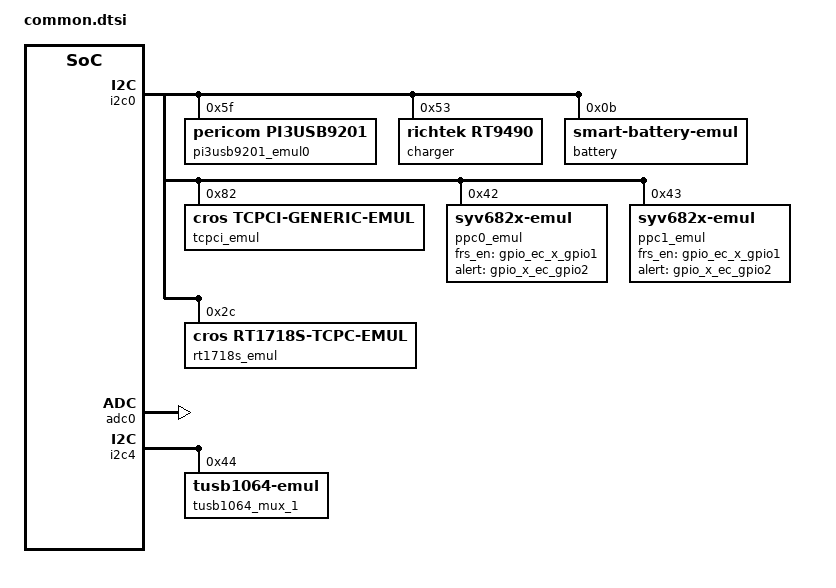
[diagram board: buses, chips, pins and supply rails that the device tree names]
/* Copyright 2022 The ChromiumOS Authors
 * Use of this source code is governed by a BSD-style license that can be
 * found in the LICENSE file.
 */

#include <it8xxx2_emul.dts>

/ {
	pinctrl: pinctrl {
		compatible = "ite,it8xxx2-pinctrl";
		status = "disabled";
	};

	named-i2c-ports {
		compatible = "named-i2c-ports";

		i2c_charger: charger {
			i2c-port = <&i2c0>;
			enum-names = "I2C_PORT_CHARGER",
				"I2C_PORT_BATTERY";
		};
	};

	usbc {
		#address-cells = <1>;
		#size-cells = <0>;

		port0@0 {
			compatible = "named-usbc-port";
			status = "okay";
			reg = <0>;
			bc12 = <&pi3usb9201_emul0>;
			chg = <&charger>;
			tcpc = <&tcpci_emul>;
			ppc = <&ppc0_emul>;
			usb-mux-chain-0 {
				compatible = "cros-ec,usb-mux-chain";
				usb-muxes = <&virtual_mux_0>;
			};
		};
		port0-muxes {
			virtual_mux_0: virtual-mux-0 {
				compatible = "cros-ec,usbc-mux-virtual";
			};
		};

		port1@1 {
			compatible = "named-usbc-port";
			status = "okay";
			reg = <1>;
			bc12 = <&bc12_port1>;
			tcpc = <&rt1718s_emul>;
			ppc = <&ppc1_emul>;
			usb-mux-chain-1 {
				compatible = "cros-ec,usb-mux-chain";
				usb-muxes = <&tusb1064_mux_1>;
			};
		};
		port1-muxes {
			virtual_mux_1: virtual-mux-1 {
				compatible = "cros-ec,usbc-mux-virtual";
			};
		};
	};

	batteries {
		default_battery: lgc_ac17a8m {
			compatible = "lgc,ac17a8m", "battery-smart";
			/**
			 * this has to be strictly lower than the desired
			 * voltage in smart battery emulator (5000mV).
			 */
			voltage_min = <4000>;
		};
	};

	named-adc-channels {
		compatible = "named-adc-channels";

		adc_vbus_c0 {
			enum-name = "ADC_VBUS_C0";
			io-channels = <&adc0 0>;
			mul = <10>;
		};
		adc_board_id0 {
			enum-name = "ADC_BOARD_ID_0";
			io-channels = <&adc0 1>;
		};
		adc_board_id1 {
			enum-name = "ADC_BOARD_ID_1";
			io-channels = <&adc0 2>;
		};
		adc_vbus_c1 {
			enum-name = "ADC_VBUS_C1";
			io-channels = <&adc0 7>;
			mul = <10>;
		};
		adc_charger: charger {
			enum-name = "ADC_TEMP_SENSOR_CHARGER";
			io-channels = <&adc0 5>;
		};
	};
};

&i2c0 {
	status="okay";

	pi3usb9201_emul0: pi3usb9201@5f {
		compatible = "pericom,pi3usb9201";
		reg = <0x5f>;
	};

	charger: bc12_port1: rt9490@53 {
		compatible = "richtek,rt9490", "zephyr,rt9490-emul";
		status = "okay";
		reg = <0x53>;
	};

	battery: sb@b {
		compatible = "zephyr,smart-battery-emul";
		reg = <0xb>;
		cycle-count = <99>;
		version = "BATTERY_SPEC_VER_1_1_WITH_PEC";
		/* Real battery voltages are multiples of 4.4V. */
		desired-charg-volt = <5000>;
		desired-charg-cur = <1000>;
		mf-name = "LGC";
		dev-name = "AC17A8M";
	};

	tcpci_emul: tcpci_emul@82 {
		compatible = "cros,tcpci-generic-emul";
		status = "okay";
		reg = <0x82>;
	};

	ppc0_emul: syv682x@42 {
		compatible = "zephyr,syv682x-emul";
		status = "okay";
		reg = <0x42>;
		frs_en_gpio = <&gpio_ec_x_gpio1>;
		alert_gpio = <&gpio_x_ec_gpio2>;
	};

	ppc1_emul: syv682x@43 {
		compatible = "zephyr,syv682x-emul";
		status = "okay";
		reg = <0x43>;
		/*
		 * the gpio pins are intentionally reused in both ppc emuls, to
		 * avoid handling different frs-en pin names on krabby and
		 * tentacruel.
		 */
		frs_en_gpio = <&gpio_ec_x_gpio1>;
		alert_gpio = <&gpio_x_ec_gpio2>;
	};

	rt1718s_emul: rt1718s@2c {
		compatible = "cros,rt1718s-tcpc-emul", "richtek,rt1718s-tcpc";
		status = "okay";
		reg = <0x2c>;
	};
};

&adc0 {
	status = "okay";
};

&i2c4 {
	status="okay";

	tusb1064_mux_1: tusb1064-mux-1@44 {
		compatible = "zephyr,tusb1064-emul";
		reg = <0x44>;
		board-init = "tusb1064_mux_1_board_init";
	};
};
